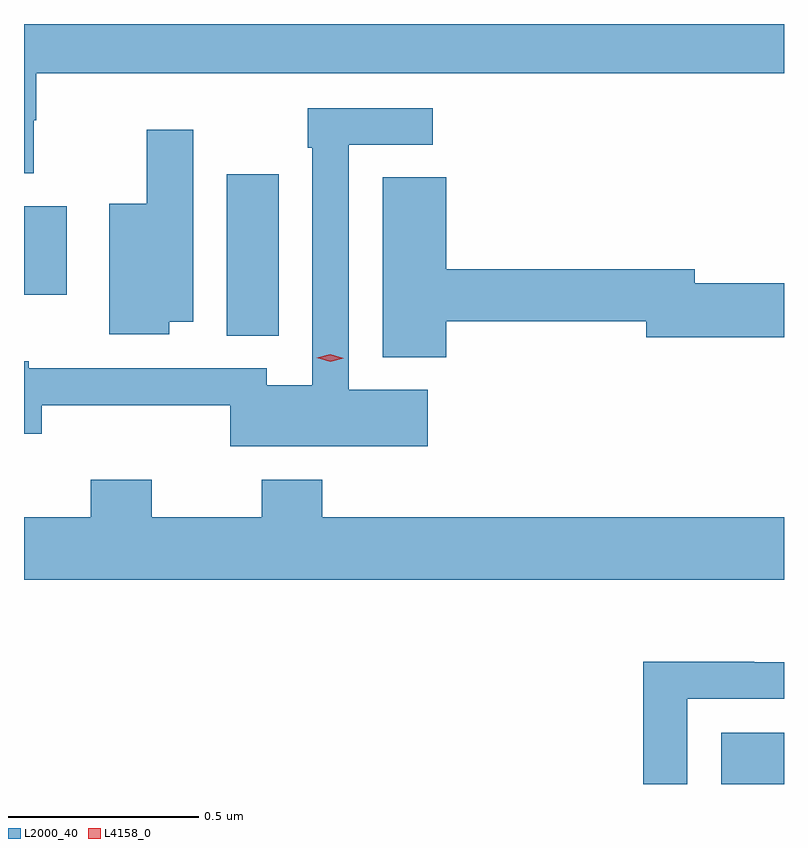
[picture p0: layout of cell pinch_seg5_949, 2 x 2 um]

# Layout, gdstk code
import gdstk
lib = gdstk.Library(unit=1e-6, precision=1e-09)
def R(c, l, rs):  # rectangles x0, y0, x1, y1
    for r in rs: c.add(gdstk.rectangle(r[:2], r[2:], *l))
def P(c, l, *ps):  # polygons
    for p in ps: c.add(gdstk.Polygon(p, *l))
L2000_40 = (2000, 40)
L4158_0 = (4158, 0)

pinch_seg5_949 = lib.new_cell('pinch_seg5_949')
R(pinch_seg5_949, L2000_40, [(661.046,898.846,661.211,898.981), (659.744,900.025,659.881,900.451), (659.211,900.134,659.323,900.367)])
P(pinch_seg5_949, L2000_40, [(659.236,900.593),(659.243,900.593),(659.243,900.716),(661.211,900.716),(661.211,900.846),(659.211,900.846),(659.211,900.453),(659.236,900.453)],
  [(660.274,899.884),(660.066,899.884),(660.066,900.528),(660.286,900.528),(660.286,900.624),(659.958,900.624),(659.958,900.521),(659.97,900.521),(659.97,899.896),(659.85,899.896),(659.85,899.94),(659.223,899.94),(659.223,899.959),(659.211,899.959),(659.211,899.768),(659.258,899.768),(659.258,899.843),(659.754,899.843),(659.754,899.735),(660.274,899.735)],
  [(659.593,900.062),(659.656,900.062),(659.656,900.568),(659.534,900.568),(659.534,900.373),(659.435,900.373),(659.435,900.029),(659.593,900.029)],
  [(660.322,900.064),(660.848,900.064),(660.848,900.022),(661.211,900.022),(661.211,900.164),(660.976,900.164),(660.976,900.2),(660.322,900.2),(660.322,900.443),(660.155,900.443),(660.155,899.969),(660.322,899.969)],
  [(661.211,899.548),(659.996,899.548),(659.996,899.647),(659.836,899.647),(659.836,899.548),(659.547,899.548),(659.547,899.647),(659.387,899.647),(659.387,899.548),(659.211,899.548),(659.211,899.384),(661.211,899.384)],
  [(660.957,899.07),(661.211,899.07),(661.211,899.166),(661.133,899.166),(661.133,899.168),(660.841,899.168),(660.841,898.846),(660.957,898.846)])
P(pinch_seg5_949, L4158_0, [(660.017,899.957),(659.982,899.968),(659.982,899.968),(659.982,899.968),(660.017,899.977),(660.052,899.966),(660.052,899.966),(660.052,899.966)])

lib.write_gds('pinch_seg5_949.gds')
